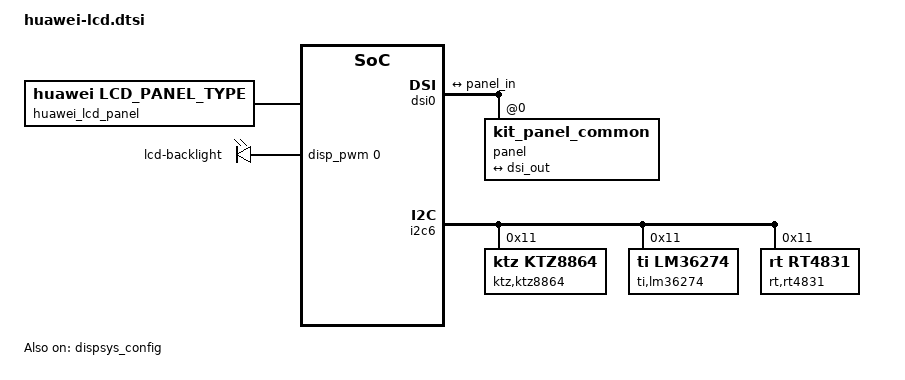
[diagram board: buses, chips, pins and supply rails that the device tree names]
#include "../lcdkit3.0/frl/devkit_lcd_kit.dtsi"

&huawei_lcd_panel {
		compatible = "huawei,lcd_panel_type";
		product_id = <2001>;
		detect_type = <2>; /*0:DETECT_GPIOID  1:DETECT_CHIPID  2:DETECT_LCD_TYPE */
		gpio_id = <131 132>; /*ID0 ID1*/
		support_lcd_type = "LCD_KIT";
		iovcc_ctrl_mode = <1>;
};

&reserved_memory {
};


/* chosen */
&chosen {
	atag,videolfb-fb_base_l = <0x7e605000>;
	atag,videolfb-fb_base_h = <0x0>;
	atag,videolfb-islcmfound = <1>;
	atag,videolfb-islcm_inited = <0>;
	atag,videolfb-fps= <6000>;
	atag,videolfb-vramSize= <0x1be0000>;
	atag,videolfb-lcmname=
		"nt35595_fhd_dsi_cmd_truly_nt50358_drv";
};

&pio {
	mtkfb_pins_lcm_dsi_te: lcm_dsi_te {
		pins_cmd_dat {
			pinmux = <PINMUX_GPIO84__FUNC_DSI_TE>;
		};
	};
};

&dispsys_config {
	pinctrl-names =
		"mode_te_te";
	pinctrl-0 = <&mtkfb_pins_lcm_dsi_te>;
	status = "okay";
};

&dsi0 {
	status = "okay";
	#address-cells = <1>;
	#size-cells = <0>;
	panel@0 {
		compatible = "kit_panel_common";
		reg = <0>;
		port {
			panel_in: endpoint {
				remote-endpoint = <&dsi_out>;
			};
		};
	};
	ports {
		port {
			dsi_out: endpoint {
				remote-endpoint = <&panel_in>;
			};
		};
	};
};

&pwmleds {
	compatible = "mediatek,pwm-leds";

	backlight {
		label = "lcd-backlight";
		pwms = <&disp_pwm 0 39385>;
		led-bits = <13>;
		trans-bits = <11>;
		pwm-names = "lcd-backlight";
	};
};

&i2c6{
	ktz,ktz8864@11{
		compatible = "ktz,ktz8864";
		ktz8864_support = <1>;
		reg = <0x11>;
		ktz8864_i2c_bus_id = <6>;
		ktz8864_only_backlight = <0>;
		ktz8864_hw_enable = <1>;
		ktz8864_hw_en_gpio = <136>;
		ktz8864_hw_en_pull_low = <1>;
		bl_on_lk_mdelay = <10>;
		bl_on_kernel_mdelay = <20>;
		bl_level = <2047>;
		ktz8864_10000_bl = <1>;
		ktz8864_bl_config_1 = <0x30>;
		ktz8864_bl_config_2 = <0xCD>;
		ktz8864_bl_brightness_lsb = <0x00>;
		ktz8864_bl_brightness_msb = <0x00>;
		ktz8864_auto_freq_low = <0x99>;
		ktz8864_auto_freq_high = <0xac>;
		ktz8864_bl_en = <0x1f>;
		ktz8864_display_bias_config_1 = <0x99>;
		ktz8864_display_bias_config_2 = <0x91>;
		ktz8864_display_bias_config_3 = <0x00>;
		ktz8864_lcm_boost_bias = <0x24>;
		ktz8864_vpos_bias = <0x1E>;
		ktz8864_vneg_bias = <0x1E>;
		ktz8864_bl_option_1 = <0x06>;
		ktz8864_bl_option_2 = <0x76>;
		ktz8864_bl_max_level = <2047>;
		ktz8864_hidden_reg_support = <0>;
		ktz8864_pull_boost_support = <1>;
		ktz8864_check_fault_support = <1>;
		ktz8864_pull_down_boost = <0x14>;
		ktz8864_enable_vsp_vsn = <0x99>;
		ktz8864_pull_up_boost = <0x24>;
	};
	ti,lm36274@11{
		compatible = "ti,lm36274";
		lm36274_support = <1>;
		reg = <0x11>;
		lm36274_i2c_bus_id = <6>;
		lm36274_only_backlight = <0>;
		lm36274_hw_enable = <1>;
		lm36274_hw_en_gpio = <136>;
		lm36274_hw_en_pull_low = <1>;
		bl_on_lk_mdelay = <10>;
		bl_on_kernel_mdelay = <20>;
		bl_level = <2047>;
		lm36274_10000_bl = <1>;
		lm36274_bl_config_1 = <0x30>;
		lm36274_bl_config_2 = <0x85>;
		lm36274_bl_brightness_lsb = <0x00>;
		lm36274_bl_brightness_msb = <0x00>;
		lm36274_auto_freq_low = <0x99>;
		lm36274_auto_freq_high = <0xac>;
		lm36274_bl_en = <0x1f>;
		lm36274_display_bias_config_1 = <0x99>;
		lm36274_display_bias_config_2 = <0x91>;
		lm36274_display_bias_config_3 = <0x00>;
		lm36274_lcm_boost_bias = <0x24>;
		lm36274_vpos_bias = <0x1E>;
		lm36274_vneg_bias = <0x1E>;
		lm36274_bl_option_1 = <0x06>;
		lm36274_bl_option_2 = <0x76>;
		lm36274_bl_max_level = <2047>;
		lm36274_check_fault_support = <1>;
		lm36274_hidden_reg_support = <0>;
		lm36274_pull_boost_support = <1>;
		lm36274_pull_down_boost = <0x14>;
		lm36274_enable_vsp_vsn = <0x99>;
		lm36274_pull_up_boost = <0x24>;
		lm36274_dimming_support = <1>;
		lm36274_dimming_config = <0xD5>;
		lm36274_dimming_resume = <0x85>;
	};
	rt,rt4831@11{
		compatible = "rt,rt4831";
		rt4831_support = <1>;
		reg = <0x11>;
		rt4831_i2c_bus_id = <6>;
		rt4831_only_backlight = <0>;
		rt4831_hw_enable = <1>;
		rt4831_hw_en_gpio = <136>;
		rt4831_hw_en_pull_low = <1>;
		bl_on_lk_mdelay = <10>;
		bl_on_kernel_mdelay = <20>;
		bl_level = <2047>;
		rt4831_10000_bl = <1>;
		rt4831_bl_config_1 = <0x30>;
		rt4831_bl_config_2 = <0x85>;
		rt4831_bl_brightness_lsb = <0x00>;
		rt4831_bl_brightness_msb = <0x00>;
		rt4831_auto_freq_low = <0x15>;
		rt4831_auto_freq_high = <0x22>;
		rt4831_bl_en = <0x1f>;
		rt4831_display_bias_config_1 = <0x99>;
		rt4831_display_bias_config_2 = <0x91>;
		rt4831_display_bias_config_3 = <0x00>;
		rt4831_lcm_boost_bias = <0x24>;
		rt4831_vpos_bias = <0x1E>;
		rt4831_vneg_bias = <0x1E>;
		rt4831_bl_option_1 = <0x06>;
		rt4831_bl_option_2 = <0x76>;
		rt4831_bl_max_level = <2047>;
		rt4831_check_fault_support = <1>;
		rt4831_hidden_reg_support = <0>;
		rt4831_pull_boost_support = <1>;
		rt4831_pull_down_boost = <0x14>;
		rt4831_enable_vsp_vsn = <0x99>;
		rt4831_pull_up_boost = <0x24>;
	};
};
